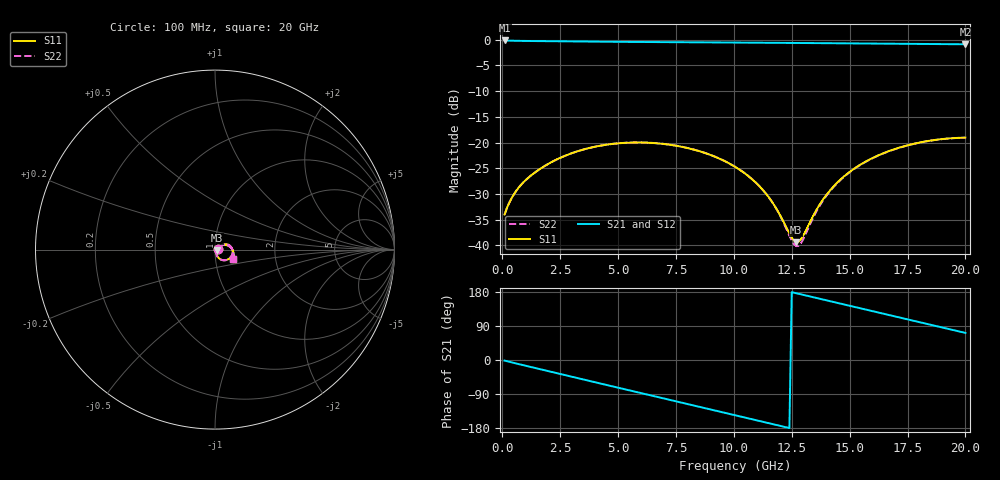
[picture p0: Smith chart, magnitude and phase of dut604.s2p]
! Touchstone file exported from HFSS 2026.1.0
!  File:  C:/ffzhzh/LocalFiles/Ansys_Project_Files/temp_train_TSV_RDL_604_1783122401_53076.aedt
!  Generated:  07:54:59 AM Jul  4, 2026
!  Design:  TSV_RDL
!  Project:  temp_train_TSV_RDL_604_1783122401_53076
! Variables:
!  h_bsmrdl = 2.35um
!  h_ox = 20um
!  h_rdl = 5um
!  h_sub = 81.52um
!  h_tmrdl = 4.84um
!  h_tsv = 81.52um
!  h_via = 3um
!  l_bsmrdl = 740.02um
!  l_sub = 4822.87um
!  l_tmrdl = 508.8um
!  m_sub = 200um
!  pitch = 35.34um
!  r_tsv = 12.21um
!  s_tmrdl = 10um
!  w_bsmrdl = 26.99um
!  w_sub = 500um
!  w_tmrdl = 28.88um
!  x_tsv_center1 = 523.24um
!  x_tsv_center2 = 1290.25um
!  x_tsv_center3 = 1827.93um
!  x_tsv_center4 = 2594.94um
!  x_tsv_center5 = 3132.62um
!  x_tsv_center6 = 3899.63um
# GHz S MA R 50.000000
! Terminal data exported
! Port[1] = TM_RDL1_1_T1
! Port[2] = TM_RDL5_1_T1
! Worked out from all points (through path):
!   200 points, 100 MHz to 20 GHz, reference 50 ohm
!   highest |S21| = -0.17 dB at 100 MHz (marker M1); lowest = -0.9 dB at 20 GHz (marker M2)
!   group delay of S21, straight-line fit = 40 ps
!   lowest |S11| = -39.4 dB at 12.7 GHz (marker M3), VSWR 1.02, Z = 51 - j0.391 ohm
!   |S11| at or under -10 dB: start of sweep to end of sweep
!   |S22| runs from -40.1 to -19.1 dB; largest |S21 - S12| = 1.7e-14
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0.1  0.01997 15.2  0.9809 -1.7  0.9809 -1.7  0.01997 15.2
! Gamma 0 0 0 0
! Port Impedance 50 0 50 0
0.5  0.03135 30.3  0.9738 -7.7  0.9738 -7.7  0.03136 30.3
1.2  0.04703 32.3  0.9688 -18.0  0.9688 -18.0  0.04704 32.3
2.3  0.06755 26.3  0.9632 -34.0  0.9632 -34.0  0.06758 26.3
3.5  0.08546 14.6  0.9575 -51.4  0.9575 -51.4  0.08553 14.5
5.2  0.09896 -5.4  0.9504 -75.9  0.9504 -75.9  0.09908 -5.5
6.8  0.09774 -25.0  0.9451 -98.9  0.9451 -98.9  0.09791 -25.3
8.4  0.08374 -44.5  0.9407 -121.9  0.9407 -121.9  0.08394 -44.9
10.1  0.0572 -63.2  0.936 -146.4  0.936 -146.4  0.05736 -64.0
10.9  0.04175 -69.6  0.9336 -158.0  0.9336 -158.0  0.04185 -70.9
11.5  0.02955 -71.1  0.9317 -166.6  0.9317 -166.6  0.02954 -73.0
12  0.01963 -65.8  0.93 -173.8  0.93 -173.8  0.01942 -68.6
12.5  0.01189 -40.8  0.9282 179.0  0.9282 179.0  0.01119 -44.4
12.7  0.01077 -20.8  0.9274 176.1  0.9274 176.1  0.009838 -22.9
12.9  0.01152 -0.0  0.9267 173.2  0.9267 173.2  0.01051 0.2
13.4  0.01893 27.8  0.9248 166.0  0.9248 166.0  0.01813 29.8
14  0.03106 34.3  0.9224 157.4  0.9224 157.4  0.03044 35.9
14.7  0.04569 31.8  0.9195 147.3  0.9195 147.3  0.04519 33.0
15.6  0.06356 24.0  0.9157 134.4  0.9157 134.4  0.06315 24.8
16.7  0.08261 12.1  0.9113 118.7  0.9113 118.7  0.08228 12.7
18.4  0.1036 -7.9  0.905 94.4  0.905 94.4  0.1034 -7.5
20  0.1115 -27.1  0.9003 71.5  0.9003 71.5  0.1114 -26.8
